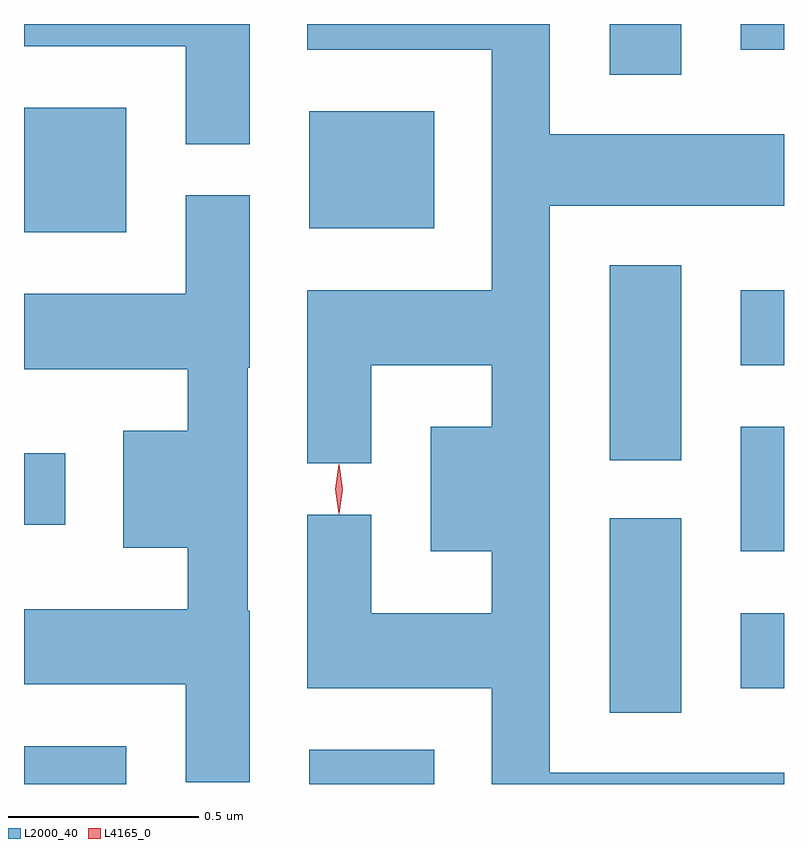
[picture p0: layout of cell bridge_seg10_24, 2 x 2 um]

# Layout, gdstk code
import gdstk
lib = gdstk.Library(unit=1e-6, precision=1e-09)
def R(c, l, rs):  # rectangles x0, y0, x1, y1
    for r in rs: c.add(gdstk.rectangle(r[:2], r[2:], *l))
def P(c, l, *ps):  # polygons
    for p in ps: c.add(gdstk.Polygon(p, *l))
L2000_40 = (2000, 40)
L4165_0 = (4165, 0)

bridge_seg10_24 = lib.new_cell('bridge_seg10_24')
R(bridge_seg10_24, L2000_40, [(1786.835,2165.034,1787.104,2165.134), (1787.586,2165.034,1787.914,2165.124), (1788.376,2165.221,1788.564,2165.734), (1788.721,2165.286,1788.835,2165.484), (1788.721,2165.646,1788.835,2165.974), (1786.835,2165.716,1786.944,2165.904), (1788.376,2165.886,1788.564,2166.399), (1788.721,2166.136,1788.835,2166.334), (1786.835,2166.486,1787.104,2166.814), (1787.586,2166.496,1787.914,2166.804), (1788.376,2166.901,1788.564,2167.034), (1788.721,2166.966,1788.835,2167.034)])
P(bridge_seg10_24, L2000_40, [(1788.835,2165.064),(1788.219,2165.064),(1788.219,2166.556),(1788.835,2166.556),(1788.835,2166.744),(1788.219,2166.744),(1788.219,2167.034),(1787.581,2167.034),(1787.581,2166.966),(1788.066,2166.966),(1788.066,2166.334),(1787.581,2166.334),(1787.581,2165.878),(1787.749,2165.878),(1787.749,2166.136),(1788.066,2166.136),(1788.066,2165.974),(1787.906,2165.974),(1787.906,2165.646),(1788.066,2165.646),(1788.066,2165.484),(1787.749,2165.484),(1787.749,2165.743),(1787.581,2165.743),(1787.581,2165.286),(1788.066,2165.286),(1788.066,2165.034),(1788.835,2165.034)],
  [(1787.429,2167.034),(1786.835,2167.034),(1786.835,2166.976),(1787.261,2166.976),(1787.261,2166.718),(1787.429,2166.718)],
  [(1787.429,2165.49),(1787.424,2165.49),(1787.424,2166.13),(1787.429,2166.13),(1787.429,2166.583),(1787.261,2166.583),(1787.261,2166.324),(1786.835,2166.324),(1786.835,2166.126),(1787.266,2166.126),(1787.266,2165.964),(1787.096,2165.964),(1787.096,2165.656),(1787.266,2165.656),(1787.266,2165.494),(1786.835,2165.494),(1786.835,2165.296),(1787.261,2165.296),(1787.261,2165.038),(1787.429,2165.038)])
P(bridge_seg10_24, L4165_0, [(1787.664,2165.744),(1787.663,2165.745),(1787.654,2165.81),(1787.663,2165.875),(1787.664,2165.876),(1787.664,2165.875),(1787.674,2165.81),(1787.664,2165.745)])

lib.write_gds('bridge_seg10_24.gds')
